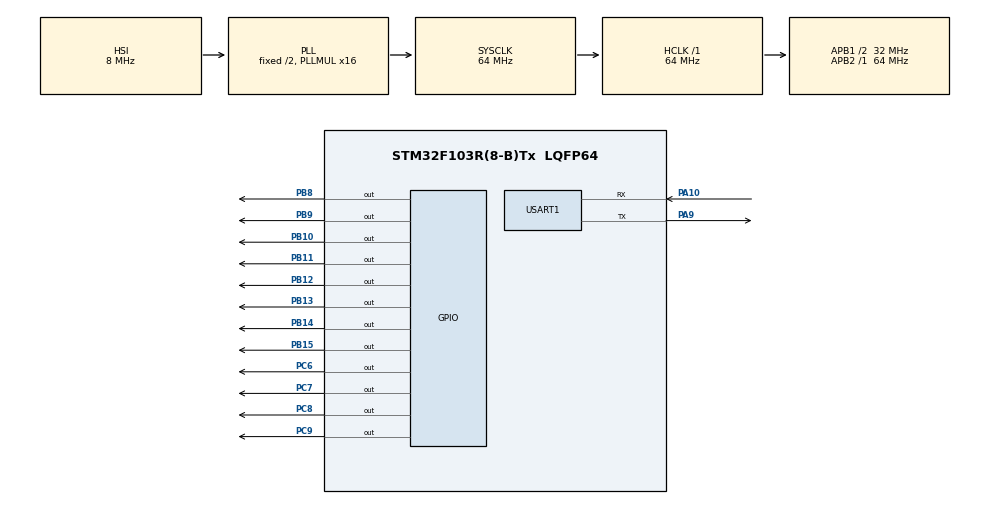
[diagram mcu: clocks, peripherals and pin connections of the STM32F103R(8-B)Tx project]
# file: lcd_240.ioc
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Dma.MEMTOMEM.0.Direction=DMA_MEMORY_TO_MEMORY
Dma.MEMTOMEM.0.Instance=DMA1_Channel1
Dma.MEMTOMEM.0.MemDataAlignment=DMA_MDATAALIGN_BYTE
Dma.MEMTOMEM.0.MemInc=DMA_MINC_ENABLE
Dma.MEMTOMEM.0.Mode=DMA_NORMAL
Dma.MEMTOMEM.0.PeriphDataAlignment=DMA_PDATAALIGN_BYTE
Dma.MEMTOMEM.0.PeriphInc=DMA_PINC_ENABLE
Dma.MEMTOMEM.0.Priority=DMA_PRIORITY_LOW
Dma.Request0=MEMTOMEM
Dma.Request1=USART1_RX
Dma.USART1_RX.1.Direction=DMA_PERIPH_TO_MEMORY
Dma.USART1_RX.1.Instance=DMA1_Channel5
Dma.USART1_RX.1.MemDataAlignment=DMA_MDATAALIGN_BYTE
Dma.USART1_RX.1.MemInc=DMA_MINC_ENABLE
Dma.USART1_RX.1.Mode=DMA_CIRCULAR
Dma.USART1_RX.1.PeriphDataAlignment=DMA_PDATAALIGN_BYTE
Dma.USART1_RX.1.PeriphInc=DMA_PINC_DISABLE
Dma.USART1_RX.1.Priority=DMA_PRIORITY_LOW
Mcu.Family=STM32F1
Mcu.Name=STM32F103R(8-B)Tx
Mcu.Package=LQFP64
NVIC.DMA1_Channel1_IRQn=true\:0\:0\:false\:false\:true\:true\:true
NVIC.DMA1_Channel5_IRQn=true\:0\:0\:false\:false\:true\:false\:true
NVIC.PriorityGroup=NVIC_PRIORITYGROUP_4
NVIC.RTC_Alarm_IRQn=true\:0\:0\:false\:false\:true\:true\:true
NVIC.RTC_IRQn=true\:0\:0\:false\:false\:true\:true\:true
NVIC.TIM1_BRK_IRQn=true\:0\:0\:false\:false\:true\:true\:true
NVIC.TIM1_CC_IRQn=true\:0\:0\:false\:false\:true\:true\:true
NVIC.TIM1_TRG_COM_IRQn=true\:0\:0\:false\:false\:true\:true\:true
NVIC.TIM1_UP_IRQn=true\:0\:0\:false\:false\:true\:true\:true
NVIC.USART1_IRQn=true\:0\:0\:false\:false\:true\:true\:true
PA10.Mode=Asynchronous
PA10.Signal=USART1_RX
PA13.Mode=Serial_Wire
PA13.Signal=SYS_JTMS-SWDIO
PA14.Mode=Serial_Wire
PA14.Signal=SYS_JTCK-SWCLK
PA9.Mode=Asynchronous
PA9.Signal=USART1_TX
PB10.Signal=GPIO_Output
PB11.Signal=GPIO_Output
PB12.Signal=GPIO_Output
PB13.Signal=GPIO_Output
PB14.Signal=GPIO_Output
PB15.Signal=GPIO_Output
PB8.Signal=GPIO_Output
PB9.Signal=GPIO_Output
PC14-OSC32_IN.Mode=LSE-External-Oscillator
PC14-OSC32_IN.Signal=RCC_OSC32_IN
PC15-OSC32_OUT.Mode=LSE-External-Oscillator
PC15-OSC32_OUT.Signal=RCC_OSC32_OUT
PC6.Signal=GPIO_Output
PC7.Signal=GPIO_Output
PC8.Signal=GPIO_Output
PC9.Signal=GPIO_Output
ProjectManager.HeapSize=0x200
ProjectManager.StackSize=0x400
ProjectManager.TargetToolchain=MDK-ARM V5.27
RCC.AHBFreq_Value=64000000
RCC.APB1CLKDivider=RCC_HCLK_DIV2
RCC.APB1Freq_Value=32000000
RCC.APB1TimFreq_Value=64000000
RCC.APB2Freq_Value=64000000
RCC.APB2TimFreq_Value=64000000
RCC.HCLKFreq_Value=64000000
RCC.PLLMUL=RCC_PLL_MUL16
RCC.SYSCLKFreq_VALUE=64000000
RCC.SYSCLKSource=RCC_SYSCLKSOURCE_PLLCLK
RCC.USBFreq_Value=64000000
RTC.Format=RTC_FORMAT_BIN
TIM1.Period=999
TIM1.Prescaler=63
USART1.VirtualMode=VM_ASYNC
VP_CRC_VS_CRC.Mode=CRC_Activate
VP_RTC_VS_RTC_Activate.Mode=RTC_Enabled
VP_TIM1_VS_ClockSourceINT.Mode=Internal
board=custom

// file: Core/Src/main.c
/* USER CODE BEGIN Header */
/**
  ******************************************************************************
  * @file           : main.c
  * @brief          : Main program body
  ******************************************************************************
  * @attention
  *
  * <h2><center>&copy; Copyright (c) 2022 STMicroelectronics.
  * All rights reserved.</center></h2>
  *
  * This software component is licensed by ST under BSD 3-Clause license,
  * the "License"; You may not use this file except in compliance with the
  * License. You may obtain a copy of the License at:
  *                        opensource.org/licenses/BSD-3-Clause
  *
  ******************************************************************************
  */
/* USER CODE END Header */
#include "main.h"
#include "crc.h"
#include "dma.h"
#include "rtc.h"
#include "tim.h"
#include "usart.h"
#include "gpio.h"

/* USER CODE BEGIN Includes */
#include "sys.h"//bit band operation
#include "SysTickDelay.h"
#include "LCM240128.h"
#include "LCD240128_CN.h"
#include "stdio.h"
#include "string.h"
/* USER CODE END Includes */

/* USER CODE BEGIN PTD */
//void LCD_GPIO_INIT(void);
void pro_num(uint16_t in , uint8_t out[],uint8_t hang,uint8_t u_or_i);

uint8_t tab[]={ "ting" };
uint8_t tab1[]={ "A B C" };
uint8_t OUT[7] = {0,0,0,0,0,0,0};//注意，次数组最后一个一定为0，以便于显示时确定结束位置

unsigned char send[]="123456\n";
unsigned char reply[50];
unsigned int reply_flag=0;
/* USER CODE END PTD */

/* USER CODE BEGIN PM */
void lcd_init()
{
	SysTick_Initaize(32);
	HAL_Delay(100);
	SET_WR;
  SET_RD;
  SET_CD;
  REST_CE;
	LCD_Text_Init();
	LCD_Clear();
}
void rx(void)
{
	if(RESET != __HAL_UART_GET_FLAG(&huart1, UART_FLAG_IDLE))   //判断是否是空闲中断
	{
		__HAL_UART_CLEAR_IDLEFLAG(&huart1); //清楚空闲中断标志（否则会一直不断进入中断）
		HAL_UART_DMAStop(&huart1);
    HAL_UART_Transmit(&huart1,reply,sizeof(reply),100);//测试：将接收到的数据打印出去
//    memset(reply,0,sizeof(reply));   //清零接收缓冲区
		reply_flag=1;
    HAL_UART_Receive_DMA(&huart1,reply,50);//重启开始DMA传输 每次255字节数据
	}
}
void uart(void);
/* USER CODE END PM */

void SystemClock_Config(void);

int main(void)
{
  /* USER CODE BEGIN 1 */
		char lcdLine_1st_line[16];
    char lcdLine_2st_line[16];
  /* USER CODE END 1 */

  /* MCU Configuration--------------------------------------------------------*/

  /* Reset of all peripherals, Initializes the Flash interface and the Systick. */
  HAL_Init();

  /* Configure the system clock */
  SystemClock_Config();

  /* Initialize all configured peripherals */
  MX_GPIO_Init();
  MX_DMA_Init();
  MX_USART1_UART_Init();
  MX_CRC_Init();
  MX_RTC_Init();
  MX_TIM1_Init();
  /* USER CODE BEGIN 2 */
	lcd_init();
	time_init();
	__HAL_UART_CLEAR_IDLEFLAG(&huart1);
	HAL_UART_Receive_DMA(&huart1,reply,50);
	HAL_UART_Transmit(&huart1,send,sizeof(send),100);

  /* USER CODE END 2 */

  /* Infinite loop */
  while (1)
  {

    /* USER CODE BEGIN 3 */
		HAL_RTC_GetTime(&hrtc,&sTime,RTC_FORMAT_BIN);
		HAL_RTC_GetDate(&hrtc,&sDate,RTC_FORMAT_BIN);

		sprintf(lcdLine_1st_line, "%2d : %2d : %2d ", sTime.Hours, sTime.Minutes, sTime.Seconds);
		sprintf(lcdLine_2st_line, "%2d : %2d : %2d ", sDate.Year, sDate.Month, sDate.Date);

		LCD_Writestring(0,6,(unsigned char *)lcdLine_1st_line);
		LCD_Writestring(0,7,(unsigned char *)lcdLine_2st_line);

		LCD_Writestring(15,14,(unsigned char *)lcdLine_2st_line);
		LCD_Writestring(15,15,(unsigned char *)lcdLine_1st_line);

		LCD_Writestring(0,5, (unsigned char *)"O");
		LCD_Writestring(13,5,(unsigned char *)"Y");
		uart();
		LCD_Clear();
//		LCD_Welcome();
  }
  /* USER CODE END 3 */
}
/* USER CODE BEGIN 4 */
void uart()
{
	static unsigned int hour,min,sec,year,month,day;
	if(reply_flag==1)
	{
		reply_flag=0;
//		sscanf((char *)reply,"%d-%d-%d %d-%d-%d",&year,&month,&day, &hour,&min,&sec);
		sscanf((char *)reply,"%d年%d月%d日%d点%d分",&year,&month,&day, &hour,&min);

		sDate.Year=year;
		sDate.Month=month;
		sDate.Date=day;
		sTime.Hours=hour;
		sTime.Minutes=min;
		sTime.Seconds=sec;
		HAL_RTC_SetTime(&hrtc, &sTime, RTC_FORMAT_BIN);
		HAL_RTC_SetDate(&hrtc, &sDate, RTC_FORMAT_BIN);
	}
}
/* USER CODE END 4 */
void SystemClock_Config(void)
{
  RCC_OscInitTypeDef RCC_OscInitStruct = {0};
  RCC_ClkInitTypeDef RCC_ClkInitStruct = {0};
  RCC_PeriphCLKInitTypeDef PeriphClkInit = {0};

  /** Initializes the RCC Oscillators according to the specified parameters
  * in the RCC_OscInitTypeDef structure.
  */
  RCC_OscInitStruct.OscillatorType = RCC_OSCILLATORTYPE_HSI|RCC_OSCILLATORTYPE_LSI;
  RCC_OscInitStruct.HSIState = RCC_HSI_ON;
  RCC_OscInitStruct.HSICalibrationValue = RCC_HSICALIBRATION_DEFAULT;
  RCC_OscInitStruct.LSIState = RCC_LSI_ON;
  RCC_OscInitStruct.PLL.PLLState = RCC_PLL_ON;
  RCC_OscInitStruct.PLL.PLLSource = RCC_PLLSOURCE_HSI_DIV2;
  RCC_OscInitStruct.PLL.PLLMUL = RCC_PLL_MUL16;
  if (HAL_RCC_OscConfig(&RCC_OscInitStruct) != HAL_OK)
  {
    Error_Handler();
  }
  /** Initializes the CPU, AHB and APB buses clocks
  */
  RCC_ClkInitStruct.ClockType = RCC_CLOCKTYPE_HCLK|RCC_CLOCKTYPE_SYSCLK
                              |RCC_CLOCKTYPE_PCLK1|RCC_CLOCKTYPE_PCLK2;
  RCC_ClkInitStruct.SYSCLKSource = RCC_SYSCLKSOURCE_PLLCLK;
  RCC_ClkInitStruct.AHBCLKDivider = RCC_SYSCLK_DIV1;
  RCC_ClkInitStruct.APB1CLKDivider = RCC_HCLK_DIV2;
  RCC_ClkInitStruct.APB2CLKDivider = RCC_HCLK_DIV1;

  if (HAL_RCC_ClockConfig(&RCC_ClkInitStruct, FLASH_LATENCY_2) != HAL_OK)
  {
    Error_Handler();
  }
  PeriphClkInit.PeriphClockSelection = RCC_PERIPHCLK_RTC;
  PeriphClkInit.RTCClockSelection = RCC_RTCCLKSOURCE_LSI;
  if (HAL_RCCEx_PeriphCLKConfig(&PeriphClkInit) != HAL_OK)
  {
    Error_Handler();
  }
}

void Error_Handler(void)
{
  __disable_irq();
  while (1)
  {
  }
}

/************************ (C) COPYRIGHT STMicroelectronics *****END OF FILE****/
